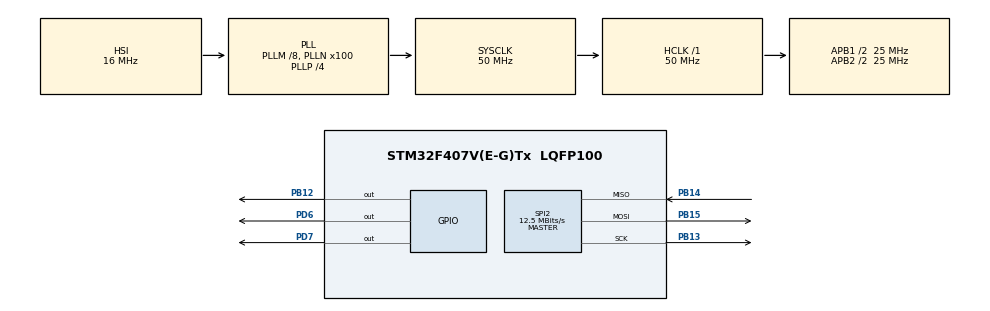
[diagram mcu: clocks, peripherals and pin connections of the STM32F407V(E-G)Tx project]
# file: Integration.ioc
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Dma.Request0=SPI2_TX
Dma.SPI2_TX.0.Direction=DMA_MEMORY_TO_PERIPH
Dma.SPI2_TX.0.FIFOMode=DMA_FIFOMODE_DISABLE
Dma.SPI2_TX.0.Instance=DMA1_Stream4
Dma.SPI2_TX.0.MemDataAlignment=DMA_MDATAALIGN_BYTE
Dma.SPI2_TX.0.MemInc=DMA_MINC_ENABLE
Dma.SPI2_TX.0.Mode=DMA_NORMAL
Dma.SPI2_TX.0.PeriphDataAlignment=DMA_PDATAALIGN_BYTE
Dma.SPI2_TX.0.PeriphInc=DMA_PINC_DISABLE
Dma.SPI2_TX.0.Priority=DMA_PRIORITY_HIGH
Mcu.Family=STM32F4
Mcu.Name=STM32F407V(E-G)Tx
Mcu.Package=LQFP100
NVIC.DMA1_Stream4_IRQn=true\:0\:0\:true\:false\:true\:false\:true\:true
NVIC.PriorityGroup=NVIC_PRIORITYGROUP_0
PB12.Signal=GPIO_Output
PB13.Mode=Full_Duplex_Master
PB13.Signal=SPI2_SCK
PB14.Mode=Full_Duplex_Master
PB14.Signal=SPI2_MISO
PB15.Mode=Full_Duplex_Master
PB15.Signal=SPI2_MOSI
PD6.Signal=GPIO_Output
PD7.Signal=GPIO_Output
ProjectManager.HeapSize=0x200
ProjectManager.StackSize=0x400
ProjectManager.TargetToolchain=STM32CubeIDE
RCC.48MHZClocksFreq_Value=28571428.57142857
RCC.AHBFreq_Value=50000000
RCC.APB1CLKDivider=RCC_HCLK_DIV2
RCC.APB1Freq_Value=25000000
RCC.APB1TimFreq_Value=50000000
RCC.APB2CLKDivider=RCC_HCLK_DIV2
RCC.APB2Freq_Value=25000000
RCC.APB2TimFreq_Value=50000000
RCC.CortexFreq_Value=50000000
RCC.HCLKFreq_Value=50000000
RCC.HSE_VALUE=8000000
RCC.HSI_VALUE=16000000
RCC.LSE_VALUE=32768
RCC.PLLM=8
RCC.PLLN=100
RCC.PLLP=RCC_PLLP_DIV4
RCC.PLLQ=7
RCC.SYSCLKFreq_VALUE=50000000
RCC.SYSCLKSource=RCC_SYSCLKSOURCE_PLLCLK
RCC.VCOOutputFreq_Value=200000000
SPI2.BaudRatePrescaler=SPI_BAUDRATEPRESCALER_2
SPI2.CalculateBaudRate=12.5 MBits/s
SPI2.Direction=SPI_DIRECTION_2LINES
SPI2.Mode=SPI_MODE_MASTER
SPI2.VirtualType=VM_MASTER
board=STM32F407G-DISC1

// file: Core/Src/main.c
/* USER CODE BEGIN Header */
/**
 ******************************************************************************
 * @file           : main.c
 * @brief          : Main program body
 ******************************************************************************
 * @attention
 *
 * Copyright (c) 2026 STMicroelectronics.
 * All rights reserved.
 *
 * This software is licensed under terms that can be found in the LICENSE file
 * in the root directory of this software component.
 * If no LICENSE file comes with this software, it is provided AS-IS.
 *
 ******************************************************************************
 */
#include "ili9341.h"
#include "dashboard.h"
#include "dma_fault_test.h"
#include "pixel_dma_test.h"
#include "dashboard_perf.h"
#include "touch_calibration.h"
#include "touch_input.h"
#include "touch_raw.h"
/* USER CODE END Header */
#include "main.h"

/* USER CODE BEGIN Includes */

#include "touch_perf.h"
#include "router_data_provider.h"
#include "router_transport_uart.h"
#include "touch_cal_store.h"
/* USER CODE END Includes */

/* USER CODE BEGIN PD */
#define ENABLE_DMA_FAULT_TEST 0U   /* Set to 1 for one controlled boot test. */
#define ENABLE_PIXEL_DMA_TEST 0U   /* Set to 1 for visible color/clipping test. */
#define ENABLE_TOUCH_RAW_TEST 1U    /* PC6..PC10 touch wiring verified on board. */
#define ENABLE_TOUCH_CALIBRATION 1U /* Set to 1 for five-point boot calibration. */

#if ENABLE_TOUCH_CALIBRATION && !ENABLE_TOUCH_RAW_TEST
#error "Touch calibration requires ENABLE_TOUCH_RAW_TEST=1"
#endif
#define ENABLE_CAL_STORE 1U /* Keep calibration in reserved Flash sector 11. */
#define ENABLE_ROUTER_UART 0U /* Set to 1 after wiring 3.3V TTL TX to PA3. */

/* USER CODE END PD */

SPI_HandleTypeDef hspi2;
DMA_HandleTypeDef hdma_spi2_tx;

/* USER CODE BEGIN PV */
/* Read these in CubeIDE Expressions. */
volatile uint32_t dma_safety_ms = 0U;
volatile uint32_t dma_safety_fail = 0U;
volatile uint32_t dma_fault_test_result = 0xFFFFFFFFU; /* Not run */
volatile uint32_t pixel_dma_test_result = 0xFFFFFFFFU; /* Not run */
/* B1 demo diagnostics: values visible in CubeIDE Expressions. */
volatile uint32_t touch_last_target = 0U;
volatile uint32_t touch_last_source = 0U;
volatile uint32_t touch_last_x = 0U, touch_last_y = 0U;
/* Owned by Data Provider; never retain pointers to stack telemetry samples. */
static DashboardStats router_stats;
volatile uint32_t router_uart_init_failed = 0U;
/* USER CODE END PV */

void SystemClock_Config(void);
static void MX_GPIO_Init(void);
static void MX_DMA_Init(void);
static void MX_SPI2_Init(void);

int main(void)
{

  /* MCU Configuration--------------------------------------------------------*/

  /* Reset of all peripherals, Initializes the Flash interface and the Systick. */
  HAL_Init();

  /* Configure the system clock */
  SystemClock_Config();

  /* Initialize all configured peripherals */
  MX_GPIO_Init();
  MX_DMA_Init();
  MX_SPI2_Init();
  /* USER CODE BEGIN 2 */
  if (ILI9341_Init() != ILI9341_OK)
    Error_Handler();
  /* Repo's working landscape orientation is 3, not 1. */
  if (ILI9341_SetRotation(3) != ILI9341_OK)
    Error_Handler();
  if (ILI9341_Width() != ILI9341_NATIVE_HEIGHT ||
      ILI9341_Height() != ILI9341_NATIVE_WIDTH)
    Error_Handler();

  /* Safety regression: running DMA must reject blocking drawing. */
  uint32_t safety_start = HAL_GetTick();
  if (ILI9341_FillScreenDMA(ILI9341_BLUE) != ILI9341_OK)
  {
    dma_safety_fail = 1U;
    Error_Handler();
  }
  if (ILI9341_FillRect(0U, 0U, 10U, 10U, ILI9341_WHITE) != ILI9341_BUSY)
  {
    dma_safety_fail = 2U;
    Error_Handler();
  }
  if (ILI9341_DMA_Wait(1500U) != ILI9341_OK)
  {
    dma_safety_fail = 3U;
    Error_Handler();
  }
  dma_safety_ms = HAL_GetTick() - safety_start;

#if ENABLE_DMA_FAULT_TEST
  /* Run before Dashboard_Init(): tests deliberately interrupt pixel DMA. */
  dma_fault_test_result = (uint32_t)DmaFaultTest_Run(&hspi2);
  if (dma_fault_test_result != (uint32_t)DMA_TEST_PASS)
  {
    Error_Handler(); /* Inspect dma_fault_test_result in Debugger. */
  }
#endif

#if ENABLE_PIXEL_DMA_TEST
  /* Visible multi-color test before Dashboard_Init() restores the screen. */
  pixel_dma_test_result = (uint32_t)PixelDmaTest_Run();
  if (pixel_dma_test_result != (uint32_t)PIXEL_DMA_TEST_PASS)
  {
    Error_Handler();
  }
#endif

  /* Optional five-target calibration runs before Dashboard uses the LCD. */
#if ENABLE_TOUCH_CALIBRATION && ENABLE_TOUCH_RAW_TEST
  TouchRaw_Init();
#if ENABLE_CAL_STORE
  TouchCalStore_Init();
  uint8_t force_recal = TouchCalStore_ForceRecalibration();
  if (!force_recal && TouchCalStore_Load(&touch_calibration))
  {
      /* Validated CRC and exact screen geometry on load. */
      touch_cal_debug = (TouchCalDebug){0};
      touch_cal_debug.result = TOUCH_CAL_PASS;
      touch_cal_debug.calibrated = 1U;
      touch_cal_debug.max_error_px = touch_cal_store_stats.loaded_fit_error_px;
  }
  else
  {
      TouchCal_RunBoot();
      if (touch_cal_debug.result == TOUCH_CAL_PASS && touch_calibration.valid)
          (void)TouchCalStore_Save(&touch_calibration, touch_cal_debug.max_error_px);
  }
#else
  TouchCal_RunBoot(); /* M2.2 RAM-only fallback */
#endif
#endif
  /* Resume the original known-working blocking Dashboard path. */
  Dashboard_Init();
  /* B1/PA0 is a safe virtual-touch input source (no TFT SPI sharing). */
  TouchInput_Init(HAL_GetTick());
#if ENABLE_TOUCH_RAW_TEST && !ENABLE_TOUCH_CALIBRATION
  TouchRaw_Init();
#endif
  DashboardPerf_Init(HAL_GetTick());
  TouchPerf_Init(HAL_GetTick());
  RouterDataProvider_Init(HAL_GetTick(), &router_stats);
#if ENABLE_ROUTER_UART
  if (RouterUart_Init() == 0U)
    router_uart_init_failed = 1U; /* Leave DEMO running; inspect clocks. */
#endif
  Dashboard_Update(&router_stats);
  DashboardPerf_OnStatsQueued(HAL_GetTick());
  /* USER CODE END 2 */

  /* Infinite loop */
  /* USER CODE BEGIN WHILE */
  while (1)
  {
    uint32_t service_begin = DashboardPerf_CycleNow();
    Dashboard_Service();
    DashboardPerf_RecordService(service_begin);

    uint32_t now = HAL_GetTick();
    uint32_t touch_input_begin = DashboardPerf_CycleNow();
    TouchInput_Service(now);
#if ENABLE_TOUCH_RAW_TEST
    TouchRaw_Service(now);
#if ENABLE_TOUCH_CALIBRATION
    TouchCal_Service(); /* Coordinate diagnostics only; no UI gesture injection. */
#endif
#endif
    TouchPerf_OnInputService(touch_input_begin, DashboardPerf_CycleNow());
    TouchInputEvent input_event;
    while (TouchInput_Pop(&input_event))
    {
      /* Synthetic B1 taps exercise the same classification entry point
       * a later, calibrated hardware touch driver will use. */
      TouchInputTarget target = TouchInput_Classify(&input_event);
      touch_last_target = (uint32_t)target;
      touch_last_source = (uint32_t)input_event.source;
      touch_last_x = input_event.x;
      touch_last_y = input_event.y;
      if (target != TOUCH_INPUT_TARGET_NONE &&
          RouterDataProvider_OnTouch(target, &router_stats) != 0U)
      {
        Dashboard_Update(&router_stats);
        DashboardPerf_OnStatsQueued(now);
        TouchPerf_OnAction(&input_event, target, now);
      }
    }
    uint8_t dma_fault = ILI9341_DMA_HasError();
    DashboardPerf_Poll(now, Dashboard_IsBusy(), dma_fault);
    TouchPerf_Poll(now, Dashboard_IsBusy(), dma_fault);
    if (dma_fault)
    {
      /* Do not silently clear: preserve evidence for debugger. */
      dma_safety_fail = 4U;
      Error_Handler();
    }

    /* Consume a bounded amount of serial telemetry in foreground only.
     * Never process frames, publish stats or redraw from USART2 IRQ. */
#if ENABLE_ROUTER_UART
    if (router_uart_init_failed == 0U)
    {
      RouterRxSample telemetry;
      if (RouterUart_Poll(now, &telemetry) != 0U)
      {
        DashboardStats received = {
            telemetry.telemetry.rx_kbps, telemetry.telemetry.tx_kbps,
            telemetry.telemetry.cpu_usage, telemetry.telemetry.mem_usage};
        (void)RouterDataProvider_PublishExternal(&received,
                                                 telemetry.received_ms);
      }
    }
#endif
    /* Data acquisition must not wait for the display DMA queue. */
    if (RouterDataProvider_Poll(now, &router_stats) != 0U)
    {
      Dashboard_Update(&router_stats);
      DashboardPerf_OnStatsQueued(now);
    }
    /* USER CODE END WHILE */

  }
}

void SystemClock_Config(void)
{
  RCC_OscInitTypeDef RCC_OscInitStruct = {0};
  RCC_ClkInitTypeDef RCC_ClkInitStruct = {0};

  /** Configure the main internal regulator output voltage
   */
  __HAL_RCC_PWR_CLK_ENABLE();
  __HAL_PWR_VOLTAGESCALING_CONFIG(PWR_REGULATOR_VOLTAGE_SCALE1);

  /** Initializes the RCC Oscillators according to the specified parameters
   * in the RCC_OscInitTypeDef structure.
   */
  RCC_OscInitStruct.OscillatorType = RCC_OSCILLATORTYPE_HSI;
  RCC_OscInitStruct.HSIState = RCC_HSI_ON;
  RCC_OscInitStruct.HSICalibrationValue = RCC_HSICALIBRATION_DEFAULT;
  RCC_OscInitStruct.PLL.PLLState = RCC_PLL_ON;
  RCC_OscInitStruct.PLL.PLLSource = RCC_PLLSOURCE_HSI;
  RCC_OscInitStruct.PLL.PLLM = 8;
  RCC_OscInitStruct.PLL.PLLN = 100;
  RCC_OscInitStruct.PLL.PLLP = RCC_PLLP_DIV4;
  RCC_OscInitStruct.PLL.PLLQ = 7;
  if (HAL_RCC_OscConfig(&RCC_OscInitStruct) != HAL_OK)
  {
    Error_Handler();
  }

  /** Initializes the CPU, AHB and APB buses clocks
   */
  RCC_ClkInitStruct.ClockType = RCC_CLOCKTYPE_HCLK | RCC_CLOCKTYPE_SYSCLK | RCC_CLOCKTYPE_PCLK1 | RCC_CLOCKTYPE_PCLK2;
  RCC_ClkInitStruct.SYSCLKSource = RCC_SYSCLKSOURCE_PLLCLK;
  RCC_ClkInitStruct.AHBCLKDivider = RCC_SYSCLK_DIV1;
  RCC_ClkInitStruct.APB1CLKDivider = RCC_HCLK_DIV2;
  RCC_ClkInitStruct.APB2CLKDivider = RCC_HCLK_DIV2;

  if (HAL_RCC_ClockConfig(&RCC_ClkInitStruct, FLASH_LATENCY_1) != HAL_OK)
  {
    Error_Handler();
  }
}

static void MX_SPI2_Init(void)
{

  /* SPI2 parameter configuration*/
  hspi2.Instance = SPI2;
  hspi2.Init.Mode = SPI_MODE_MASTER;
  hspi2.Init.Direction = SPI_DIRECTION_2LINES;
  hspi2.Init.DataSize = SPI_DATASIZE_8BIT;
  hspi2.Init.CLKPolarity = SPI_POLARITY_LOW;
  hspi2.Init.CLKPhase = SPI_PHASE_1EDGE;
  hspi2.Init.NSS = SPI_NSS_SOFT;
  hspi2.Init.BaudRatePrescaler = SPI_BAUDRATEPRESCALER_2;
  hspi2.Init.FirstBit = SPI_FIRSTBIT_MSB;
  hspi2.Init.TIMode = SPI_TIMODE_DISABLE;
  hspi2.Init.CRCCalculation = SPI_CRCCALCULATION_DISABLE;
  hspi2.Init.CRCPolynomial = 10;
  if (HAL_SPI_Init(&hspi2) != HAL_OK)
  {
    Error_Handler();
  }
}

static void MX_DMA_Init(void)
{

  /* DMA controller clock enable */
  __HAL_RCC_DMA1_CLK_ENABLE();

  /* DMA interrupt init */
  /* DMA1_Stream4_IRQn interrupt configuration */
  HAL_NVIC_SetPriority(DMA1_Stream4_IRQn, 0, 0);
  HAL_NVIC_EnableIRQ(DMA1_Stream4_IRQn);
}

static void MX_GPIO_Init(void)
{
  GPIO_InitTypeDef GPIO_InitStruct = {0};

  /* GPIO Ports Clock Enable */
  __HAL_RCC_GPIOB_CLK_ENABLE();
  __HAL_RCC_GPIOD_CLK_ENABLE();

  /*Configure GPIO pin Output Level */
  HAL_GPIO_WritePin(GPIOB, GPIO_PIN_12, GPIO_PIN_RESET);

  /*Configure GPIO pin Output Level */
  HAL_GPIO_WritePin(GPIOD, GPIO_PIN_6 | GPIO_PIN_7, GPIO_PIN_RESET);

  /*Configure GPIO pin : PB12 */
  GPIO_InitStruct.Pin = GPIO_PIN_12;
  GPIO_InitStruct.Mode = GPIO_MODE_OUTPUT_PP;
  GPIO_InitStruct.Pull = GPIO_NOPULL;
  GPIO_InitStruct.Speed = GPIO_SPEED_FREQ_LOW;
  HAL_GPIO_Init(GPIOB, &GPIO_InitStruct);

  /*Configure GPIO pins : PD6 PD7 */
  GPIO_InitStruct.Pin = GPIO_PIN_6 | GPIO_PIN_7;
  GPIO_InitStruct.Mode = GPIO_MODE_OUTPUT_PP;
  GPIO_InitStruct.Pull = GPIO_NOPULL;
  GPIO_InitStruct.Speed = GPIO_SPEED_FREQ_LOW;
  HAL_GPIO_Init(GPIOD, &GPIO_InitStruct);

}

/* USER CODE BEGIN 4 */
void HAL_SPI_TxCpltCallback(
    SPI_HandleTypeDef *hspi)
{
  ILI9341_DMA_TxCompleteCallback(hspi);
}

void HAL_SPI_ErrorCallback(
    SPI_HandleTypeDef *hspi)
{
  ILI9341_DMA_ErrorCallback(hspi);
}
/* USER CODE END 4 */

void Error_Handler(void)
{
  __disable_irq();
  while (1)
  {
  }
}
